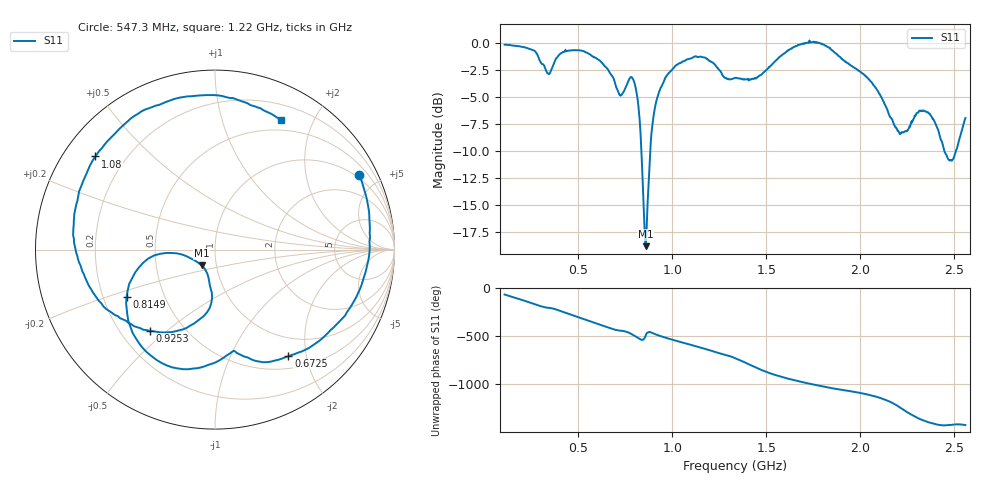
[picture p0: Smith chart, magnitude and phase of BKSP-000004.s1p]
# MHz S MA R 50
!  freq  S11
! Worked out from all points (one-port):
!   1000 points, 108 MHz to 2.56 GHz, reference 50 ohm
!   lowest |S11| = -18.8 dB at 859.1 MHz (marker M1), VSWR 1.26, Z = 42.5 - j7.57 ohm
!   |S11| at or under -10 dB: 836.1 MHz to 882.9 MHz (46.78 MHz wide, 5.44 % of centre); 2.449 GHz to 2.509 GHz (60.45 MHz wide, 2.44 % of centre)
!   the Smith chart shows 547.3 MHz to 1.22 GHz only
!   S11 on the Smith chart (normalised r, x): 547.3 MHz: 0.85, +3.93; 672.5 MHz: 0.68, -1.69; 814.9 MHz: 0.30, -0.23; 925.3 MHz: 0.32, -0.44; 1.08 GHz: 0.09, +0.34; 1.22 GHz: 0.37, +1.56
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108  0.9869 -63.3
184.0881  0.9715 -109.4
262.6306  0.9294 -160.2
414.8068  0.9079 118.0
478.6226  0.9302 74.6
547.3473  0.9054 27.4
603.7998  0.8442 -10.2
672.5245  0.7214 -55.5
721.6136  0.5758 -79.1
778.0661  0.698 -109.8
814.8829  0.5587 -151.9
859.0631  0.115 -130.2
925.3333  0.5795 -128.5
1028.42  0.7991 170.0
1079.964  0.8447 142.1
1153.598  0.868 101.7
1219.868  0.8091 63.2
1335.227  0.6935 -6.8
1399.043  0.6833 -63.0
1450.587  0.6943 -109.8
1543.856  0.8217 -179.8
1642.034  0.9581 126.0
1759.848  1.01 74.8
1948.841  0.7934 7.8
2125.562  0.5367 -75.1
2255.648  0.3999 143.2
2368.553  0.4721 41.6
2560  0.4514 15.1
